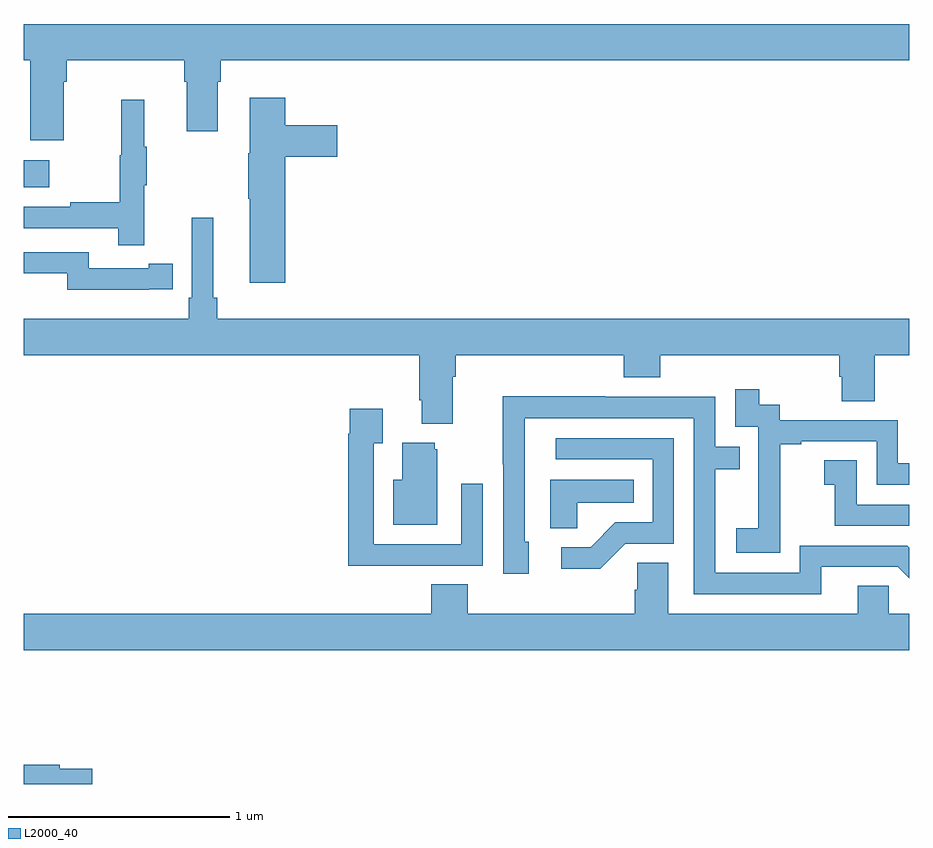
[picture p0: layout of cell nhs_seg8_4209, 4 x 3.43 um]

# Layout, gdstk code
import gdstk
lib = gdstk.Library(unit=1e-6, precision=1e-09)
def R(c, l, rs):  # rectangles x0, y0, x1, y1
    for r in rs: c.add(gdstk.rectangle(r[:2], r[2:], *l))
def P(c, l, *ps):  # polygons
    for p in ps: c.add(gdstk.Polygon(p, *l))
L2000_40 = (2000, 40)

nhs_seg8_4209 = lib.new_cell('nhs_seg8_4209')
R(nhs_seg8_4209, L2000_40, [(369,1114.595,369.115,1114.717)])
P(nhs_seg8_4209, L2000_40, [(369.181,1115.072),(369.194,1115.072),(369.194,1115.168),(369.725,1115.168),(369.725,1115.072),(369.737,1115.072),(369.737,1114.848),(369.877,1114.848),(369.877,1115.072),(369.89,1115.072),(369.89,1115.168),(373,1115.168),(373,1115.332),(369,1115.332),(369,1115.168),(369.029,1115.168),(369.029,1114.806),(369.181,1114.806)],
  [(370.181,1114.733),(370.417,1114.733),(370.417,1114.875),(370.181,1114.875),(370.181,1114.999),(370.022,1114.999),(370.022,1114.749),(370.015,1114.749),(370.015,1114.543),(370.022,1114.543),(370.022,1114.164),(370.181,1114.164)],
  [(369.545,1114.603),(369.556,1114.603),(369.556,1114.777),(369.545,1114.777),(369.545,1114.99),(369.442,1114.99),(369.442,1114.74),(369.435,1114.74),(369.435,1114.526),(369.211,1114.526),(369.211,1114.506),(369,1114.506),(369,1114.41),(369.427,1114.41),(369.427,1114.332),(369.545,1114.332)],
  [(369.566,1114.134),(369.674,1114.134),(369.674,1114.25),(369.566,1114.25),(369.566,1114.23),(369.294,1114.23),(369.294,1114.302),(369,1114.302),(369,1114.206),(369.198,1114.206),(369.198,1114.133),(369.566,1114.133)],
  [(369.875,1114.096),(369.856,1114.096),(369.856,1114.456),(369.759,1114.456),(369.759,1114.096),(369.746,1114.096),(369.746,1114),(369,1114),(369,1113.836),(370.787,1113.836),(370.787,1113.634),(370.799,1113.634),(370.799,1113.527),(370.939,1113.527),(370.939,1113.74),(370.952,1113.74),(370.952,1113.836),(371.711,1113.836),(371.711,1113.737),(371.876,1113.737),(371.876,1113.836),(372.683,1113.836),(372.683,1113.738),(372.695,1113.738),(372.695,1113.628),(372.843,1113.628),(372.843,1113.836),(373,1113.836),(373,1114),(369.875,1114)],
  [(372.417,1113.151),(372.416,1113.151),(372.416,1113.435),(372.511,1113.435),(372.511,1113.447),(372.852,1113.447),(372.852,1113.252),(373,1113.252),(373,1113.348),(372.948,1113.348),(372.948,1113.543),(372.414,1113.543),(372.414,1113.612),(372.322,1113.612),(372.322,1113.682),(372.213,1113.682),(372.213,1113.513),(372.318,1113.513),(372.318,1113.284),(372.317,1113.284),(372.317,1113.055),(372.219,1113.055),(372.219,1112.945),(372.417,1112.945)],
  [(372.601,1112.88),(372.948,1112.88),(373,1112.828),(373,1112.966),(372.99,1112.976),(372.504,1112.976),(372.504,1112.853),(372.123,1112.853),(372.123,1113.322),(372.233,1113.322),(372.233,1113.423),(372.123,1113.423),(372.123,1113.648),(371.627,1113.648),(371.627,1113.65),(371.164,1113.65),(371.164,1113.343),(371.166,1113.343),(371.166,1112.85),(371.281,1112.85),(371.281,1112.994),(371.262,1112.994),(371.262,1113.552),(372.027,1113.552),(372.027,1112.757),(372.601,1112.757)],
  [(370.757,1112.886),(371.073,1112.886),(371.073,1113.256),(370.977,1113.256),(370.977,1112.982),(370.581,1112.982),(370.581,1113.439),(370.621,1113.439),(370.621,1113.595),(370.473,1113.595),(370.473,1113.482),(370.465,1113.482),(370.465,1112.885),(370.757,1112.885)],
  [(371.718,1112.985),(371.937,1112.985),(371.937,1113.462),(371.403,1113.462),(371.403,1113.366),(371.841,1113.366),(371.841,1113.081),(371.672,1113.081),(371.561,1112.97),(371.427,1112.97),(371.427,1112.873),(371.605,1112.873)],
  [(370.867,1113.411),(370.856,1113.411),(370.856,1113.442),(370.709,1113.442),(370.709,1113.274),(370.67,1113.274),(370.67,1113.071),(370.867,1113.071)],
  [(373,1113.162),(372.762,1113.162),(372.762,1113.361),(372.615,1113.361),(372.615,1113.251),(372.664,1113.251),(372.664,1113.066),(373,1113.066)],
  [(371.499,1113.17),(371.756,1113.17),(371.756,1113.274),(371.378,1113.274),(371.378,1113.055),(371.499,1113.055)],
  [(371.772,1112.9),(371.772,1112.777),(371.759,1112.777),(371.759,1112.668),(371.006,1112.668),(371.006,1112.801),(370.841,1112.801),(370.841,1112.668),(369,1112.668),(369,1112.504),(373,1112.504),(373,1112.668),(372.906,1112.668),(372.906,1112.795),(372.767,1112.795),(372.767,1112.668),(371.911,1112.668),(371.911,1112.9)],
  [(369.311,1111.968),(369.164,1111.968),(369.164,1111.988),(369,1111.988),(369,1111.9),(369.311,1111.9)])

lib.write_gds('nhs_seg8_4209.gds')
